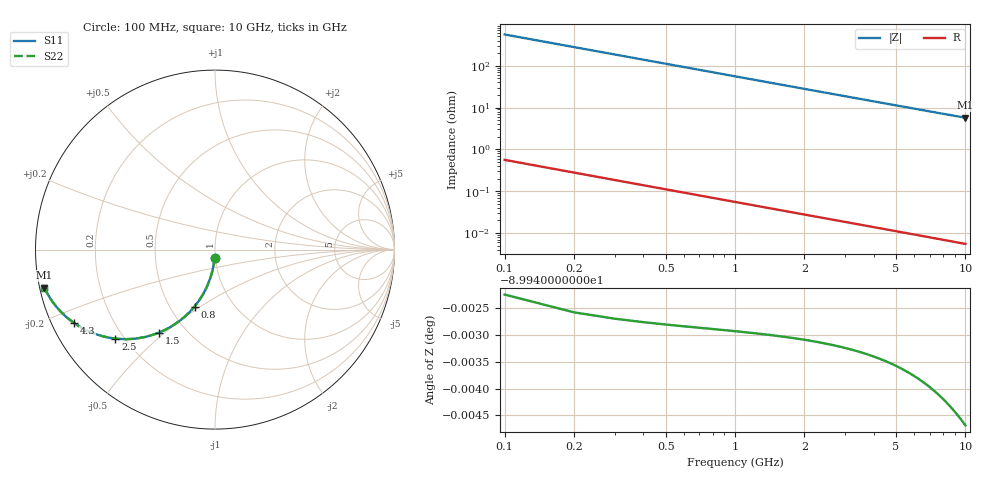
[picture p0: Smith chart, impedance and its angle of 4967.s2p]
# Hz S RI R 50.00
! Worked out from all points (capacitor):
!   100 points, 100 MHz to 10 GHz, reference 50 ohm
!   read as one part in shunt: C = 2.86 pF near 100 MHz
!   lowest |Z| = 5.71 ohm at 10 GHz (marker M1)
!   S11 on the Smith chart (normalised r, x): 100 MHz: 0.99, -0.09; 800 MHz: 0.66, -0.47; 1.5 GHz: 0.36, -0.48; 2.5 GHz: 0.17, -0.37; 4.3 GHz: 0.06, -0.24; 10 GHz: 0.01, -0.11
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1e8  -0.00205 -0.0447  0.9979 -0.0448  0.9979 -0.0448  -0.00205 -0.0447
2e8  -0.00806 -0.0889  0.9919 -0.089  0.9919 -0.089  -0.00806 -0.0889
3e8  -0.0179 -0.132  0.9821 -0.1322  0.9821 -0.1322  -0.0179 -0.132
4e8  -0.0313 -0.1736  0.9687 -0.1738  0.9687 -0.1738  -0.0313 -0.1736
5e8  -0.048 -0.2132  0.9519 -0.2135  0.9519 -0.2135  -0.048 -0.2132
6e8  -0.0677 -0.2505  0.9323 -0.2509  0.9323 -0.2509  -0.0677 -0.2505
8e8  -0.1141 -0.3173  0.8858 -0.3177  0.8858 -0.3177  -0.1141 -0.3173
9e8  -0.1401 -0.3464  0.8599 -0.3469  0.8599 -0.3469  -0.1401 -0.3464
1.1e9  -0.1956 -0.3958  0.8044 -0.3965  0.8044 -0.3965  -0.1956 -0.3958
1.3e9  -0.2533 -0.434  0.7467 -0.4348  0.7467 -0.4348  -0.2533 -0.434
1.5e9  -0.3109 -0.4619  0.6891 -0.4628  0.6891 -0.4628  -0.3109 -0.4619
1.8e9  -0.3934 -0.4875  0.6066 -0.4885  0.6066 -0.4885  -0.3934 -0.4875
2.1e9  -0.4685 -0.4979  0.5315 -0.4991  0.5315 -0.4991  -0.4685 -0.4979
2.5e9  -0.555 -0.4958  0.445 -0.4972  0.445 -0.4972  -0.555 -0.4958
2.9e9  -0.6261 -0.4825  0.3738 -0.4841  0.3738 -0.4841  -0.6261 -0.4825
3.4e9  -0.6967 -0.4582  0.3033 -0.4601  0.3033 -0.4601  -0.6967 -0.4582
4.3e9  -0.7855 -0.4088  0.2145 -0.4112  0.2145 -0.4112  -0.7855 -0.4088
5.1e9  -0.8371 -0.3673  0.1629 -0.3703  0.1629 -0.3703  -0.8371 -0.3673
5.8e9  -0.869 -0.3353  0.131 -0.3386  0.131 -0.3386  -0.869 -0.3353
6.7e9  -0.8983 -0.2998  0.1017 -0.3037  0.1017 -0.3037  -0.8983 -0.2998
8.4e9  -0.9326 -0.2477  0.0673 -0.2526  0.0673 -0.2526  -0.9326 -0.2477
1e10  -0.9514 -0.2115  0.0485 -0.2173  0.0485 -0.2173  -0.9514 -0.2115
